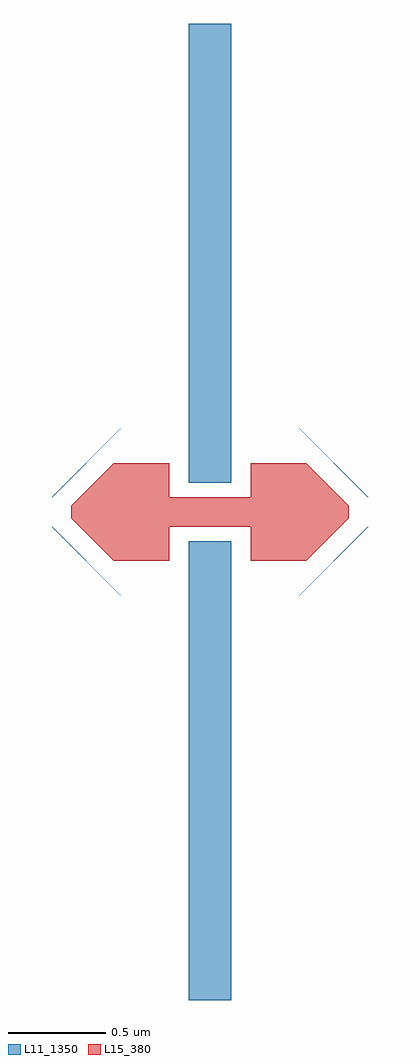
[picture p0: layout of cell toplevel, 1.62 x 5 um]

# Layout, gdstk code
from math import pi, radians
import gdstk
lib = gdstk.Library(unit=1e-6, precision=1e-09)
def R(c, l, rs):  # rectangles x0, y0, x1, y1
    for r in rs: c.add(gdstk.rectangle(r[:2], r[2:], *l))
def P(c, l, *ps):  # polygons
    for p in ps: c.add(gdstk.Polygon(p, *l))
L11_1350 = (11, 1350)
L15_380 = (15, 380)

boolean = lib.new_cell('boolean')
R(boolean, L11_1350, [(-0.11,-2.5,0.11,-0.15), (-0.11,0.15,0.11,2.5)])

junction = lib.new_cell('Junction')
junction.add(gdstk.Reference(boolean, (0,0)))

rectangle = lib.new_cell('rectangle')
P(rectangle, L11_1350, [(0.456,0.429),(0.81,0.076),(0.809,0.075),(0.456,0.429)])

boolean002 = lib.new_cell('boolean002')
P(boolean002, L15_380, [(-0.21,-0.075),(0.21,-0.075),(0.21,-0.25),(0.493,-0.25),(0.71,-0.033),(0.71,0.033),(0.493,0.25),(0.21,0.25),(0.21,0.075),(-0.21,0.075),(-0.21,0.25),(-0.493,0.25),(-0.71,0.033),(-0.71,-0.033),(-0.493,-0.25),(-0.21,-0.25)])

h_undercut_with_symmetri = lib.new_cell('H undercut with symmetric sl')
h_undercut_with_symmetri.add(gdstk.Reference(rectangle, (0,0)))
h_undercut_with_symmetri.add(gdstk.Reference(rectangle, (0,0), x_reflection=True))
h_undercut_with_symmetri.add(gdstk.Reference(rectangle, (0,0), rotation=pi, x_reflection=True))
h_undercut_with_symmetri.add(gdstk.Reference(rectangle, (0,0), rotation=pi))
h_undercut_with_symmetri.add(gdstk.Reference(boolean002, (0,0)))

toplevel = lib.new_cell('toplevel')
toplevel.add(gdstk.Reference(junction, (0,0)))
toplevel.add(gdstk.Reference(h_undercut_with_symmetri, (0,0)))

lib.write_gds('toplevel.gds')
